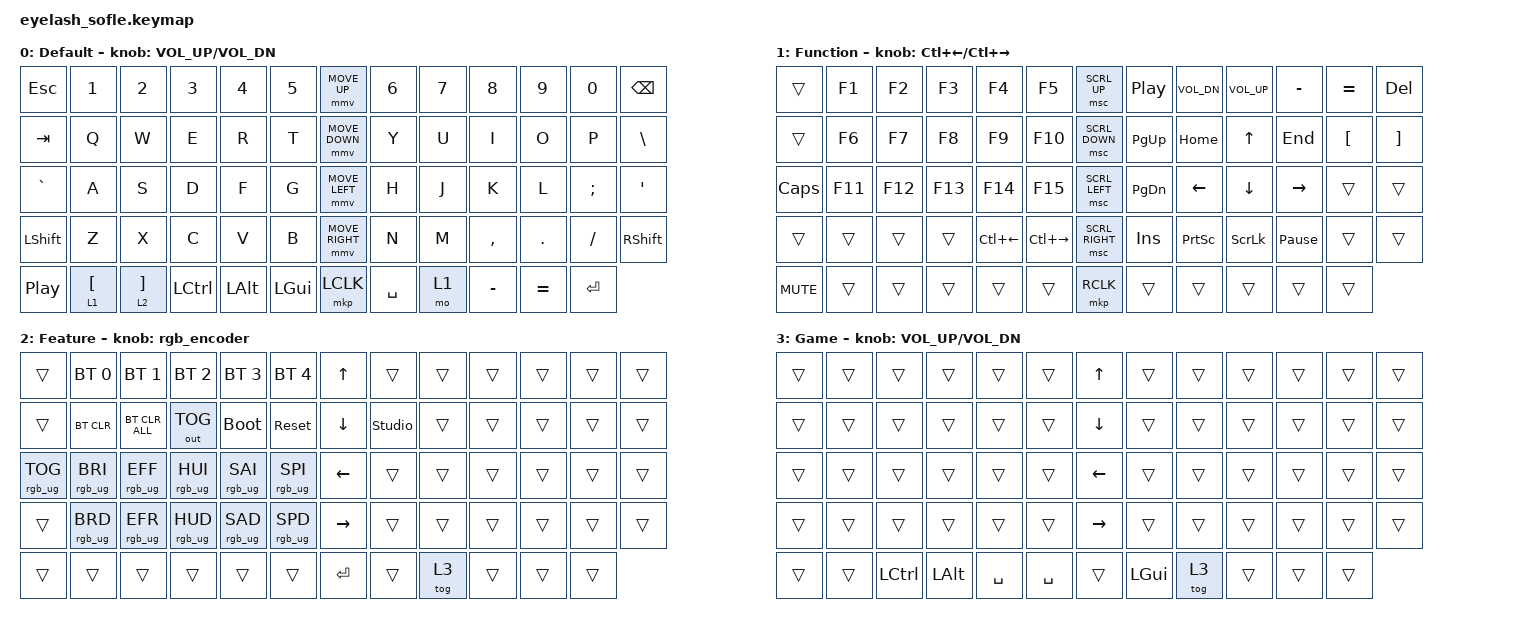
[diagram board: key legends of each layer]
#define ZMK_POINTING_DEFAULT_MOVE_VAL 1000  // 600
#define ZMK_POINTING_DEFAULT_SCRL_VAL 10   // 10

#include <input/processors.dtsi>
#include <zephyr/dt-bindings/input/input-event-codes.h>
#include <behaviors.dtsi>
#include <dt-bindings/zmk/bt.h>
#include <dt-bindings/zmk/keys.h>
#include <dt-bindings/zmk/outputs.h>
#include <dt-bindings/zmk/pointing.h>
#include <dt-bindings/zmk/rgb.h>

&mmv_input_listener { input-processors = <&zip_xy_scaler 1 1>; };

&msc_input_listener { input-processors = <&zip_scroll_scaler 1 1>; };

&msc {
    acceleration-exponent = <0>;      // 0
    time-to-max-speed-ms = <500>;       // 300
    delay-ms = <0>;                   // 0
};

&mmv {
    time-to-max-speed-ms = <800>;
    acceleration-exponent = <1>;
    trigger-period-ms = <16>;
};

&soft_off { hold-time-ms = <2000>; };

/ {

    behaviors {
        rgb_encoder: rgb_encoder {
            compatible = "zmk,behavior-sensor-rotate";
            #sensor-binding-cells = <0>;
            bindings = <&rgb_ug RGB_BRI>, <&rgb_ug RGB_BRD>;
        };

        scroll_encoder: scroll_encoder {
            compatible = "zmk,behavior-sensor-rotate";
            #sensor-binding-cells = <0>;
            bindings = <&msc SCRL_DOWN>, <&msc SCRL_UP>;
            tap-ms = <100>;
        };
    };


    keymap {
        compatible = "zmk,keymap";

        layer0 {
            bindings = <
&kp ESC           &kp N1              &kp N2              &kp N3           &kp N4           &kp N5        &mmv MOVE_UP     &kp N6     &kp N7     &kp N8     &kp N9           &kp N0      &kp BACKSPACE
&kp TAB           &kp Q               &kp W               &kp E            &kp R            &kp T         &mmv MOVE_DOWN   &kp Y      &kp U      &kp I      &kp O            &kp P       &kp BSLH
&kp GRAVE         &kp A               &kp S               &kp D            &kp F            &kp G         &mmv MOVE_LEFT   &kp H      &kp J      &kp K      &kp L            &kp SEMI    &kp APOS
&kp LSHFT         &kp Z               &kp X               &kp C            &kp V            &kp B         &mmv MOVE_RIGHT  &kp N      &kp M      &kp COMMA  &kp DOT          &kp FSLH    &kp RSHFT
&kp C_PLAY_PAUSE  &lt 1 LEFT_BRACKET    &lt 2 RIGHT_BRACKET   &kp LEFT_CONTROL &kp LEFT_ALT     &kp LEFT_GUI  &mkp LCLK        &kp SPACE  &mo 1      &kp MINUS  &kp EQUAL        &kp RETURN
            >;

            sensor-bindings = <&inc_dec_kp C_VOLUME_UP C_VOL_DN>;
            display-name = "Default";
        };

        layer_1 {
            bindings = <
&trans      &kp F1    &kp F2   &kp F3   &kp F4              &kp F5    &msc SCRL_UP     &kp C_PLAY_PAUSE &kp C_VOL_DN   &kp C_VOL_UP   &kp MINUS       &kp EQUAL  &kp DELETE
&trans      &kp F6    &kp F7   &kp F8   &kp F9              &kp F10   &msc SCRL_DOWN   &kp PG_UP        &kp HOME       &kp UP         &kp END         &kp LEFT_BRACKET  &kp RIGHT_BRACKET
&kp CAPS    &kp F11   &kp F12  &kp F13  &kp F14             &kp F15   &msc SCRL_LEFT   &kp PG_DN        &kp LEFT       &kp DOWN       &kp RIGHT       &trans     &trans
&trans      &trans    &trans   &trans   &kp LC(LEFT_ARROW)  &kp LC(RIGHT_ARROW)    &msc SCRL_RIGHT  &kp INSERT       &kp PSCRN      &kp SCROLLLOCK &kp PAUSE_BREAK &trans     &trans
&kp C_MUTE  &trans    &trans   &trans   &trans              &trans    &mkp RCLK        &trans           &trans         &trans         &trans          &trans
            >;

            display-name = "Function";
            sensor-bindings = <&inc_dec_kp LC(LEFT_ARROW) LC(RIGHT_ARROW)>;
        };

        layer_2 {
            bindings = <
&trans           &bt BT_SEL 0     &bt BT_SEL 1    &bt BT_SEL 2     &bt BT_SEL 3    &bt BT_SEL 4    &kp UP_ARROW     &trans  &trans  &trans &trans &trans &trans
&trans           &bt BT_CLR       &bt BT_CLR_ALL  &out OUT_TOG     &bootloader     &sys_reset      &kp DOWN_ARROW   &studio_unlock  &trans  &trans &trans &trans &trans
&rgb_ug RGB_TOG  &rgb_ug RGB_BRI  &rgb_ug RGB_EFF &rgb_ug RGB_HUI  &rgb_ug RGB_SAI &rgb_ug RGB_SPI &kp LEFT_ARROW   &trans  &trans  &trans &trans &trans &trans
&trans           &rgb_ug RGB_BRD  &rgb_ug RGB_EFR &rgb_ug RGB_HUD  &rgb_ug RGB_SAD &rgb_ug RGB_SPD &kp RIGHT_ARROW  &trans  &trans  &trans &trans &trans &trans
&trans           &trans           &trans          &trans           &trans          &trans          &kp ENTER        &trans  &tog 3  &trans &trans &trans
            >;
            display-name = "Feature";
            sensor-bindings = <&rgb_encoder>;
        };

        layer_3 {
            bindings = <
&trans  &trans  &trans            &trans        &trans      &trans      &kp UP_ARROW    &trans          &trans  &trans  &trans  &trans  &trans
&trans  &trans  &trans            &trans        &trans      &trans      &kp DOWN_ARROW  &trans          &trans  &trans  &trans  &trans  &trans
&trans  &trans  &trans            &trans        &trans      &trans      &kp LEFT_ARROW  &trans          &trans  &trans  &trans  &trans  &trans
&trans  &trans  &trans            &trans        &trans      &trans      &kp RIGHT_ARROW &trans          &trans  &trans  &trans  &trans  &trans
&trans  &trans  &kp LEFT_CONTROL  &kp LEFT_ALT  &kp SPACE   &kp SPACE   &trans          &kp LEFT_GUI    &tog 3  &trans  &trans  &trans
            >;
            display-name = "Game";
            sensor-bindings = <&inc_dec_kp C_VOLUME_UP C_VOL_DN>;            
        };
    };
};
